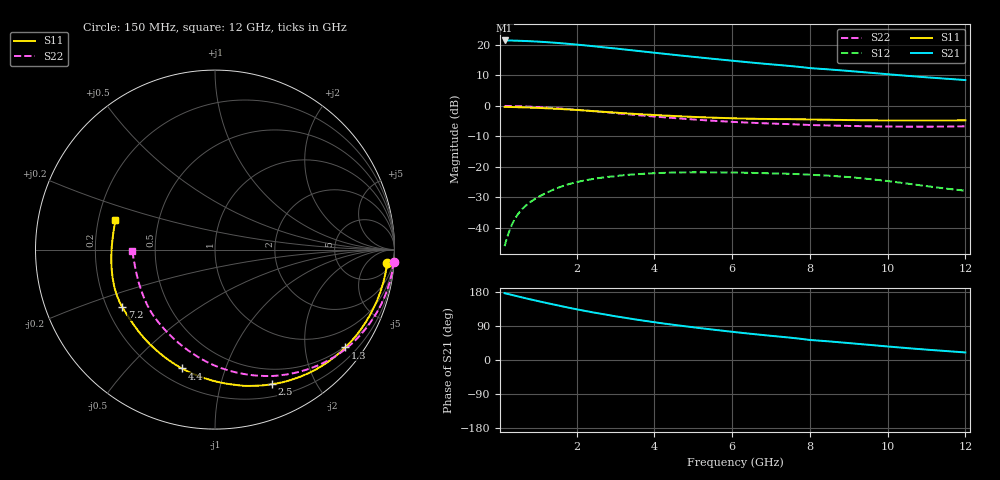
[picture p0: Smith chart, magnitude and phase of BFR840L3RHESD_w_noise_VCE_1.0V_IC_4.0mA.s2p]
! Infineon Technologies  Discrete & RF Semiconductors
! BFR840L3RHESD
! VCE =  1.0 V,  IC =  4.0 mA
! Common Emitter S-Parameters:  Jun 2012
# GHz  S  MA  R  50
!  f  S11  S21  S12  S22
! GHz  MAG  ANG  MAG  ANG  MAG  ANG  MAG  ANG
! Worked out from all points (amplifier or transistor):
!   91 points, 150 MHz to 12 GHz, reference 50 ohm
!   highest |S21| = 21.5 dB at 150 MHz (marker M1)
!   |S21| within 3 dB of that: start of sweep to 3.259 GHz
!   unconditionally stable (mu >= 1): 9.449 GHz to end of sweep
!   at 1.3 GHz: K = 0.08, MSG = 24.5 dB, |S12| = -28.1 dB
!   at 4.3 GHz: K = 0.26, MSG = 19.5 dB, |S12| = -21.9 dB
!   at 12 GHz: K = 2.23, MAG = 11.9 dB, |S12| = -27.8 dB
!   lowest NFmin = 0.46 dB at 450 MHz
!   S11 on the Smith chart (normalised r, x): 150 MHz: 10, -20; 1.3 GHz: 0.47, -2.93; 2.5 GHz: 0.33, -1.46; 4.4 GHz: 0.29, -0.72; 7.2 GHz: 0.26, -0.27; 12 GHz: 0.27, +0.13
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0.15  0.9612 -4.5  11.82 176.3  0.005 88.1  0.997 -3.9
0.4  0.9545 -11.8  11.74 170.1  0.0135 80.9  0.9902 -10.5
0.7  0.9417 -20.4  11.56 162.7  0.0233 74.6  0.9752 -18.0
1  0.9261 -28.8  11.31 155.7  0.0316 68.4  0.9559 -25.3
1.3  0.9081 -36.9  11.01 148.9  0.0394 62.7  0.9324 -32.5
1.7  0.88 -47.5  10.52 140.1  0.0497 56.1  0.8951 -41.7
1.9  0.8643 -52.6  10.25 135.9  0.0541 52.6  0.8743 -46.1
2.2  0.8395 -60.1  9.836 129.9  0.0597 47.2  0.842 -52.5
2.5  0.8144 -67.1  9.404 124.3  0.0643 42.1  0.8102 -58.6
3  0.7754 -78.2  8.737 115.4  0.0696 35.8  0.7596 -68.0
3.2  0.7589 -82.4  8.445 112.1  0.0728 32.9  0.7391 -71.8
3.6  0.7316 -90.6  7.926 105.7  0.0761 28.0  0.7023 -78.7
4.2  0.6977 -101.9  7.208 96.9  0.0795 21.5  0.6538 -88.5
4.4  0.6874 -105.5  6.985 94.2  0.0803 19.4  0.639 -91.6
5.2  0.6513 -119.2  6.185 83.9  0.0814 11.7  0.5865 -103.6
6.1  0.6237 -133.1  5.427 73.3  0.0805 4.4  0.543 -116.1
7.2  0.6076 -148.1  4.679 61.9  0.0776 -2.8  0.5082 -130.3
8  0.5974 -160.3  4.161 52.9  0.0742 -9.3  0.4853 -141.9
8.5  0.591 -165.2  3.956 49.1  0.0715 -12.0  0.4767 -146.6
9.5  0.5794 -175.9  3.514 40.2  0.0634 -17.7  0.4624 -157.1
10.5  0.5741 174.7  3.109 31.4  0.0532 -21.0  0.4558 -167.0
12  0.579 163.5  2.65 19.9  0.0406 -16.5  0.4618 -179.0
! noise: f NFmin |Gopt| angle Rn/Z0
0.45  0.46  0.6  7  0.21
0.9  0.5  0.59  12  0.2
1.9  0.54  0.56  27  0.19
3.5  0.56  0.56  47  0.17
4  0.59  0.56  55  0.17
5.5  0.63  0.57  70  0.15
7  0.72  0.54  89  0.13
8  0.79  0.51  102  0.12
10  0.92  0.46  122  0.1
12  1.1  0.38  153  0.08
